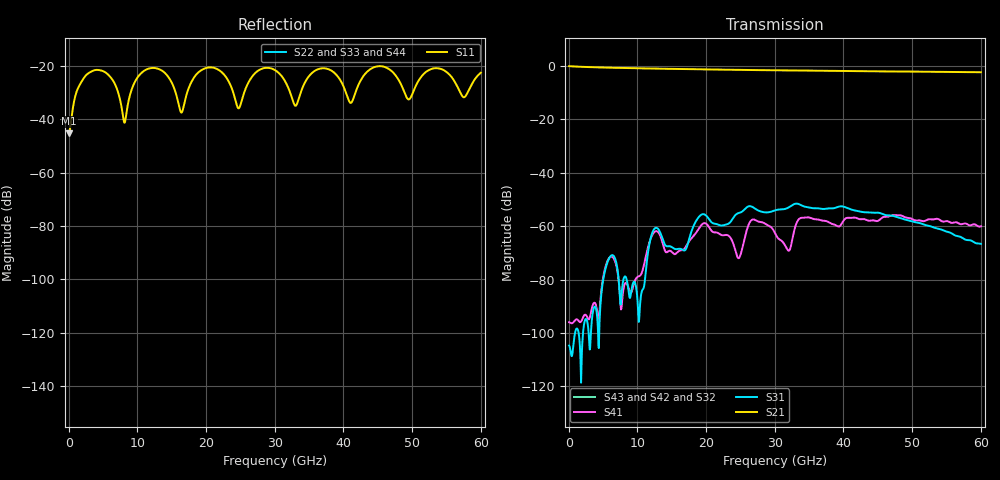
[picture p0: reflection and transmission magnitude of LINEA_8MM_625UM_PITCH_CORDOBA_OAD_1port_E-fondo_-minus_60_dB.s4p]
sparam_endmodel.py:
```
"""
Multimode line with end junctions, fitted to the S-parameters (-44.5 dB run). Pre-registered test (stated before
running): fit on the 12 monitor frequencies only, predict NEXT (S31) and FEXT (S41) on the dense grid 1-60 GHz;
success = median complex relative error < 0.3 for both AND below half that of a cubic spline through the same 12 points.

Symmetric 4-port (ports 1 A near, 2 A far, 3 B near, 4 B far): even/odd 2-ports
  S11 = (Se11 + So11)/2, S31 = (Se11 - So11)/2, S21 = (Se21 + So21)/2, S41 = (Se21 - So21)/2.
Each 2-port: port -- junction -- three modes (even: cpw, slot, strips-bottom; odd: cpw, slot, A-vs-B) propagating
with the eigen gamma(f) (+ a constant index correction dn per mode, fitted) -- the same junction (z-symmetric) -- port.
Junction (reciprocal): port reflection rho, port-to-mode coupling t (3), mode-to-mode reflection R (3x3 symmetric);
each a polynomial of order K in f. With P = diag(exp(-gamma L)):
  a+ = (I - R P R P)^-1 t,  a- = R P a+,  S21 = t . P a+,  S11 = rho + t . P a-.
Residuals: complex errors of S11, S21, S31, S41, each divided by that parameter's magnitude (B quantities count as
much as A's). Multi-start Levenberg-Marquardt.
"""
import os, sys
HERE = os.path.dirname(os.path.abspath(__file__))
sys.path.insert(0, os.path.join(HERE, "../cordoba_8mm/eigen_w2mm_mag_ebottom_sweep"))
import numpy as np, skrf as rf
from scipy.optimize import least_squares
from scipy.interpolate import CubicSpline
import sweepfit as S

K = int(os.environ.get("K", "0"))
net = rf.Network(os.path.join(HERE, "LINEA_8MM_625UM_PITCH_CORDOBA_OAD_1port_E-fondo_-minus_60_dB.s4p"))
fG = net.f / 1e9; sel = fG >= 1.0; fG = fG[sel]; Sm = net.s[sel]
MEAS = {"S11": Sm[:, 0, 0], "S21": Sm[:, 1, 0], "S31": Sm[:, 2, 0], "S41": Sm[:, 3, 0]}
BLK = {"e": ["e_cpw", "e_slot", "e_sb"], "o": ["o_cpw", "o_slot", "o_AvsB"]}
GAM0 = {m: np.array([S.DISP[m].alpha(f) + 1j * 2 * np.pi * f * 1e9 * S.DISP[m].n_of(f) / S.C0 for f in fG])
        for b in BLK.values() for m in b}
IU = np.triu_indices(3)
NPB = (1 + 3 + 6) * (K + 1)            # complex params per block
NP = 2 * 2 * NPB + 6                   # real params: two blocks (re, im) + 6 index corrections


def unpack(p, idx_f):
    t = (fG[idx_f] - 30.0) / 30.0
    out = {}; k = 0
    for b in ("e", "o"):
        c = p[k:k + 2 * NPB].reshape(2, NPB); k += 2 * NPB; c = c[0] + 1j * c[1]
        c = c.reshape(10, K + 1); poly = sum(c[:, j][None, :] * t[:, None] ** j for j in range(K + 1))  # (nf,10)
        rho = poly[:, 0]; tv = poly[:, 1:4]; R = np.zeros((len(t), 3, 3), complex)
        R[:, IU[0], IU[1]] = poly[:, 4:10]; R[:, IU[1], IU[0]] = poly[:, 4:10]
        out[b] = (rho, tv, R)
    dn = p[k:k + 6]
    return out, dn


def model(p, idx_f):
    blocks, dn = unpack(p, idx_f); res = {}; i = 0
    for b, modes in BLK.items():
        rho, tv, R = blocks[b]
        g = np.stack([GAM0[m][idx_f] + 1j * 2 * np.pi * fG[idx_f] * 1e9 * dn[i + j] / S.C0 for j, m in enumerate(modes)], 1)
        i += 3
        P = np.exp(-g * S.L * 1e0)
        PR = P[:, :, None] * np.eye(3)[None]
        M = np.eye(3)[None] - R @ PR @ R @ PR
        ap = np.linalg.solve(M, tv[:, :, None])[:, :, 0]
        am = (R @ (P * ap)[:, :, None])[:, :, 0]
        res[b + "21"] = np.sum(tv * P * ap, 1); res[b + "11"] = rho + np.sum(tv * P * am, 1)
    return {"S11": 0.5 * (res["e11"] + res["o11"]), "S31": 0.5 * (res["e11"] - res["o11"]),
            "S21": 0.5 * (res["e21"] + res["o21"]), "S41": 0.5 * (res["e21"] - res["o21"])}


def resid(p, idx_f):
    m = model(p, idx_f); r = []
    for k in MEAS:
        d = MEAS[k][idx_f]; e = (m[k] - d) / abs(d); r += [e.real, e.imag]
    return np.concatenate(r)


def fit(idx_f, starts=30, seed=0):
    rng = np.random.default_rng(seed); best = None
    for s in range(starts):
        p0 = rng.standard_normal(NP) * 0.1; p0[-6:] = 0.0
        # sensible start: CPW couples strongly to the port, other couplings small
        for b in range(2):
            base = b * 2 * NPB; p0[base + 1 * (K + 1)] = 0.9
        try:
            r = least_squares(resid, p0, args=(idx_f,), method="lm", max_nfev=4000)
        except Exception:
            continue
        if best is None or r.cost < best.cost:
            best = r
    return best


def err(pred, k, idx):
    d = MEAS[k][idx]; return np.median(abs(pred - d) / abs(d))


if __name__ == "__main__":
    mon = np.array([np.argmin(abs(fG - f)) for f in S.FTD])
    dense = np.setdiff1d(np.arange(len(fG)), mon)
    print(f"K = {K}: {NP} real parameters; 12-point fit has {12*8} real data; dense grid {len(dense)} points")
    for lab, idx in (("fit on 12 monitor frequencies", mon), ("fit on every 4th point (descriptive check)", np.arange(0, len(fG), 4))):
        r = fit(idx, starts=30 if len(idx) < 50 else 8)
        m = model(r.x, np.arange(len(fG)))
        print(f"\n{lab}: cost {r.cost:.3g}; index corrections dn = " + " ".join(f"{v:+.4f}" for v in r.x[-6:]))
        print("   median complex rel. error   on fitted points | on the other dense points | spline from the same points")
        for k in MEAS:
            sp = CubicSpline(fG[idx], MEAS[k][idx])(fG[np.setdiff1d(np.arange(len(fG)), idx)]) if len(idx) < 400 else None
            other = np.setdiff1d(np.arange(len(fG)), idx)
            print(f"   {k}: {err(m[k][idx], k, idx):.3f} | {err(m[k][other], k, other):.3f} | "
                  f"{err(sp, k, other):.3f}")
        if len(idx) == 12:
            np.save(os.path.join(HERE, f"sparam_endmodel_K{K}_params.npy"), r.x)
            import matplotlib; matplotlib.use("Agg"); import matplotlib.pyplot as plt
            fig, ax = plt.subplots(1, 2, figsize=(11, 4))
            for a, k in zip(ax, ("S31", "S41")):
                a.plot(fG, 20 * np.log10(abs(MEAS[k])), color="0.6", lw=1, label="TD (dense)")
                a.plot(fG, 20 * np.log10(abs(m[k])), color="#2a78d6", lw=1.3, label=f"end model, fitted at 12 points (K={K})")
                a.plot(fG, 20 * np.log10(abs(CubicSpline(fG[idx], MEAS[k][idx])(fG))), "--", color="#eb6834", lw=1, label="spline through 12 points")
                a.plot(fG[idx], 20 * np.log10(abs(MEAS[k][idx])), "o", color="k", ms=4)
                a.set_title({"S31": "NEXT", "S41": "FEXT"}[k], fontsize=10); a.set_xlabel("f (GHz)"); a.set_ylabel("dB"); a.grid(alpha=0.3)
            ax[0].legend(fontsize=7, frameon=False); fig.tight_layout()
            fig.savefig(os.path.join(HERE, f"sparam_endmodel_K{K}.png"), dpi=150)
```
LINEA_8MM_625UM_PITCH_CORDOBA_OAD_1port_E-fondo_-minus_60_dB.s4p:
! TOUCHSTONE file generated by CST MICROWAVE STUDIO
! Date and time: Wed Nov  4 14:42:19 2026
! Project name: LINEA_8MM_625UM_PITCH_CORDOBA_OAD_1port_E-fondo -minus 60 dB.cst
! Parameters = {CHANNEL_PITCH=0.625; GAP=0.00415; L=8; L1=0.02; L2=0.086; L3=0.066; NCELL=1; PITCH=0.18; START_POSITION=0.13; W1=0.003; W2=0.004; W3=0.009; WG=0.04985; gap_oxr=0.00125; linbo3_thickness=0.0002; mtx=0.002; oxiDinE=0.0014; w=0.185; ws=0.035}
! Header version: 2024
! Port assignment regex: !\s*Touchstone port\s*([0-9]+)\s*=\s*(CST MWS port|CST DES external port|CST DES block port)\s*(.+)\s* \(\"(.*)\"\)(\s*mode\s*([0-9]+))?.*
! Touchstone port assignment:
! Touchstone port 1 = CST MWS port 1 ("")
! Touchstone port 2 = CST MWS port 2 ("")
! Touchstone port 3 = CST MWS port 3 ("")
! Touchstone port 4 = CST MWS port 4 ("")
# GHz S MA R 50
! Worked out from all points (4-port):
!   1000 points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, 60 MHz to 60 GHz, reference 50 ohm
!   strongest paths, dB at 60 MHz, 15.06 GHz, 30.06 GHz, 45.06 GHz, 60 GHz:
!     S21: 0.0, -1.1, -1.6, -2.0, -2.3
!     S31: -104.7, -67.9, -54.0, -54.9, -66.6
!     S41: -95.9, -69.8, -62.7, -57.9, -60.0
!     S43: -, -, -, -, -
!     S42: -, -, -, -, -
!     S32: -, -, -, -, -
!   lowest |S11| = -45.3 dB at 60 MHz (marker M1), VSWR 1.01, Z = 50.5 - j0.0154 ohm
!   |S11| at or under -10 dB: start of sweep to end of sweep
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0.06  0.005462 -1.6  0 0.0  0 0.0  0 0.0
      0.9944 -1.4  0 0.0  0 0.0  0 0.0
      5.849e-06 -12.8  0 0.0  0 0.0  0 0.0
      1.595e-05 163.5  0 0.0  0 0.0  0 0.0
7.98  0.009863 170.9  0 0.0  0 0.0  0 0.0
      0.9207 -174.6  0 0.0  0 0.0  0 0.0
      0.0001025 13.3  0 0.0  0 0.0  0 0.0
      6.801e-05 -164.8  0 0.0  0 0.0  0 0.0
60  0.07395 -124.7  0 0.0  0 0.0  0 0.0
    0.7654 151.7  0 0.0  0 0.0  0 0.0
    0.0004678 -3.5  0 0.0  0 0.0  0 0.0
    0.0009994 73.7  0 0.0  0 0.0  0 0.0
